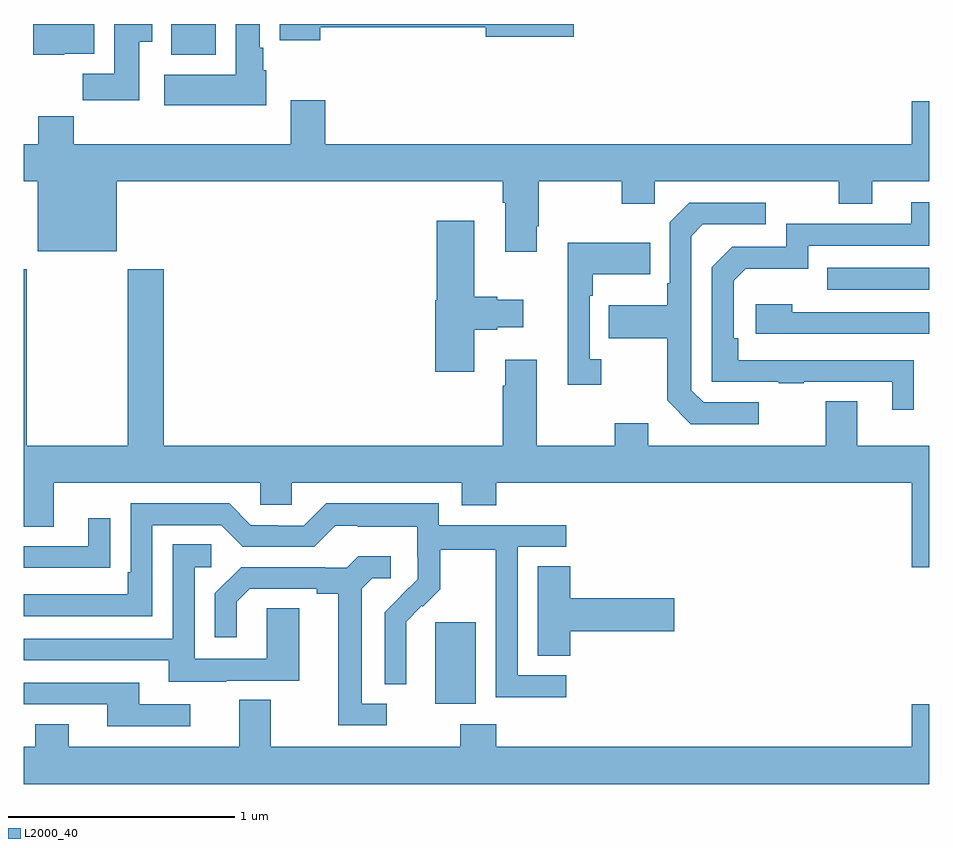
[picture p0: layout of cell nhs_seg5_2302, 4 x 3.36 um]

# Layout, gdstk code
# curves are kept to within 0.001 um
import gdstk
lib = gdstk.Library(unit=1e-6, precision=1e-09)
def R(c, l, rs):  # rectangles x0, y0, x1, y1
    for r in rs: c.add(gdstk.rectangle(r[:2], r[2:], *l))
def P(c, l, *ps):  # polygons
    for p in ps: c.add(gdstk.Polygon(p, *l))
L2000_40 = (2000, 40)

nhs_seg5_2302 = lib.new_cell('nhs_seg5_2302')
R(nhs_seg5_2302, L2000_40, [(246.818,843.794,246.997,844.155), (248.551,845.625,249,845.721), (245.651,846.662,245.848,846.799)])
P(nhs_seg5_2302, L2000_40, [(246.31,846.784),(247.04,846.784),(247.04,846.742),(247.429,846.742),(247.429,846.799),(246.131,846.799),(246.131,846.728),(246.31,846.728)],
  [(245.178,846.668),(245.311,846.668),(245.311,846.799),(245.042,846.799),(245.042,846.662),(245.178,846.662)],
  [(246.07,846.594),(246.058,846.594),(246.058,846.694),(246.043,846.694),(246.043,846.799),(245.936,846.799),(245.936,846.574),(245.619,846.574),(245.619,846.44),(246.07,846.44)],
  [(245.509,846.721),(245.566,846.721),(245.566,846.799),(245.399,846.799),(245.399,846.58),(245.26,846.58),(245.26,846.462),(245.509,846.462)],
  [(246.332,846.463),(246.179,846.463),(246.179,846.268),(245.219,846.268),(245.219,846.392),(245.063,846.392),(245.063,846.268),(245,846.268),(245,846.104),(245.06,846.104),(245.06,845.795),(245.41,845.795),(245.41,846.104),(247.115,846.104),(247.115,846.008),(247.127,846.008),(247.127,845.793),(247.267,845.793),(247.267,845.905),(247.275,845.905),(247.275,846.104),(247.642,846.104),(247.642,846.005),(247.788,846.005),(247.788,846.104),(248.602,846.104),(248.602,846.005),(248.749,846.005),(248.749,846.104),(249,846.104),(249,846.457),(248.924,846.457),(248.924,846.268),(246.332,846.268)],
  [(248.933,845.312),(248.156,845.313),(248.156,845.41),(248.136,845.41),(248.136,845.664),(248.189,845.717),(248.466,845.717),(248.466,845.82),(249,845.82),(249,846.012),(248.921,846.012),(248.921,845.916),(248.37,845.916),(248.37,845.814),(248.13,845.814),(248.04,845.724),(248.04,845.217),(248.335,845.217),(248.335,845.212),(248.447,845.212),(248.447,845.217),(248.837,845.217),(248.837,845.094),(248.933,845.094)],
  [(248.248,845.127),(248.004,845.127),(247.95,845.181),(247.95,845.862),(248.001,845.913),(248.278,845.913),(248.278,846.009),(247.941,846.009),(247.854,845.922),(247.854,845.653),(247.842,845.653),(247.842,845.557),(247.585,845.557),(247.585,845.41),(247.842,845.41),(247.842,845.137),(247.947,845.031),(248.248,845.031)],
  [(246.991,845.447),(247.091,845.447),(247.091,845.459),(247.207,845.459),(247.207,845.581),(247.091,845.581),(247.091,845.594),(246.991,845.594),(246.991,845.929),(246.824,845.929),(246.824,845.577),(246.818,845.577),(246.818,845.262),(246.991,845.262)],
  [(247.552,845.318),(247.5,845.318),(247.5,845.597),(247.513,845.597),(247.513,845.693),(247.769,845.693),(247.769,845.833),(247.403,845.833),(247.403,845.205),(247.552,845.205)],
  [(249,844.936),(248.683,844.936),(248.683,845.131),(248.543,845.131),(248.543,844.936),(247.759,844.936),(247.759,845.035),(247.612,845.035),(247.612,844.936),(247.267,844.936),(247.267,845.314),(247.127,845.314),(247.127,845.201),(247.115,845.201),(247.115,844.936),(245.618,844.936),(245.618,845.716),(245.458,845.716),(245.458,844.936),(245.013,844.936),(245.013,845.716),(245,845.716),(245,844.578),(245.131,844.578),(245.131,844.772),(246.045,844.772),(246.045,844.674),(246.183,844.674),(246.183,844.772),(246.935,844.772),(246.935,844.673),(247.088,844.673),(247.088,844.772),(248.924,844.772),(248.924,844.398),(249,844.398)],
  [(249,845.526),(248.396,845.526),(248.396,845.56),(248.235,845.56),(248.235,845.43),(249,845.43)],
  [(247.396,843.921),(247.182,843.921),(247.182,844.488),(247.396,844.488),(247.396,844.584),(246.834,844.584),(246.834,844.681),(246.337,844.681),(246.237,844.581),(246.122,844.581),(246.122,844.584),(246.003,844.584),(245.907,844.68),(245.472,844.68),(245.472,844.375),(245.459,844.375),(245.459,844.278),(245,844.278),(245,844.182),(245.568,844.182),(245.568,844.584),(245.871,844.584),(245.967,844.488),(246.282,844.488),(246.375,844.581),(246.475,844.581),(246.475,844.577),(246.738,844.577),(246.738,844.443),(246.74,844.443),(246.74,844.346),(246.594,844.198),(246.594,843.88),(246.69,843.88),(246.689,844.157),(246.759,844.227),(246.762,844.224),(246.839,844.301),(246.839,844.476),(247.084,844.476),(247.084,844.252),(247.086,844.252),(247.086,843.823),(247.396,843.823)],
  [(245.279,844.396),(245.381,844.396),(245.381,844.615),(245.285,844.615),(245.285,844.491),(245,844.491),(245,844.395),(245.279,844.395)],
  [(245.893,843.897),(246.217,843.897),(246.217,844.217),(246.072,844.217),(246.072,843.993),(245.754,843.993),(245.754,844.398),(245.827,844.398),(245.827,844.499),(245.658,844.499),(245.658,844.083),(245,844.083),(245,843.987),(245.639,843.987),(245.639,843.893),(245.893,843.893)],
  [(246.604,843.795),(246.493,843.795),(246.493,844.303),(246.54,844.35),(246.622,844.35),(246.622,844.447),(246.478,844.447),(246.426,844.395),(246.332,844.395),(246.332,844.398),(245.96,844.398),(245.844,844.282),(245.844,844.089),(245.941,844.089),(245.941,844.245),(245.998,844.302),(246.293,844.302),(246.293,844.28),(246.389,844.28),(246.389,843.699),(246.604,843.699)],
  [(247.415,844.115),(247.873,844.115),(247.873,844.262),(247.415,844.262),(247.415,844.403),(247.271,844.403),(247.271,844.006),(247.415,844.006)],
  [(245.734,843.792),(245.509,843.792),(245.509,843.888),(245,843.888),(245,843.792),(245.369,843.792),(245.369,843.696),(245.734,843.696)],
  [(249,843.793),(248.924,843.793),(248.924,843.604),(247.088,843.604),(247.088,843.703),(246.928,843.703),(246.928,843.604),(246.091,843.604),(246.091,843.812),(245.951,843.812),(245.951,843.604),(245.197,843.604),(245.197,843.703),(245.05,843.703),(245.05,843.604),(245,843.604),(245,843.44),(249,843.44)])

lib.write_gds('nhs_seg5_2302.gds')
